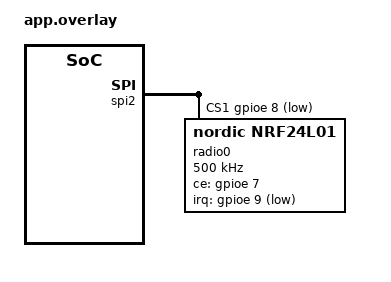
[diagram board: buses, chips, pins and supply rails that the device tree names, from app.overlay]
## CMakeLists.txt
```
cmake_minimum_required(VERSION 3.20.0)
list(APPEND ZEPHYR_EXTRA_MODULES ${CMAKE_CURRENT_SOURCE_DIR}/drivers)
set(SYSCALL_INCLUDE_DIRS "${CMAKE_CURRENT_SOURCE_DIR}/drivers/nrf24l01")
find_package(Zephyr REQUIRED HINTS $ENV{ZEPHYR_BASE})
project(nrf24l01)

target_include_directories(app PRIVATE drivers/nrf24l01)
target_sources(app PRIVATE src/main.c)
```

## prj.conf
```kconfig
CONFIG_GPIO=y
CONFIG_CONSOLE=y
CONFIG_SERIAL=y
CONFIG_UART_CONSOLE=y
CONFIG_PRINTK=y

CONFIG_SPI=y
CONFIG_NRF24L01=y
CONFIG_NRF24L01_TRIGGER=y

CONFIG_LOG=y
CONFIG_APP_LOG_LEVEL_INF=y
CONFIG_NRF24L01_LOG_LEVEL_ERR=y

CONFIG_ROLE=0
```

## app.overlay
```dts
&spi2 {
    cs-gpios = <&gpioe 3 GPIO_ACTIVE_LOW>,  /* w25q64 (index 0) */
               <&gpioe 8 GPIO_ACTIVE_LOW>; /* nrf24 (index 1) */

    radio0: nrf24@1 {
        compatible = "nordic,nrf24l01";
        status = "okay";
        reg = <1>;
        
        spi-max-frequency = <500000>;
        addr-width = <4>;
        ce-gpios = <&gpioe 7 GPIO_ACTIVE_HIGH>;
        irq-gpios = <&gpioe 9 GPIO_ACTIVE_LOW>;
        channel-frequency = <16>;
        rf-power-attenuation = <18>;
        lna-gain;
        tx-address = [de ad de ad];
        payload-fixed-size = <32>;
        rx-datapipes-number = <2>;
        rx-datapipe0-address = [e7 e7 e7 e7];
        rx-datapipe1-address = [de ad de ad];
        // payload-ack;
        payload-crc;
    };
};
```

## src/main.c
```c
#include <zephyr/kernel.h>
#include <zephyr/devicetree.h>

#include <nrf24.h>
#include <zephyr/logging/log.h>
LOG_MODULE_REGISTER(main, CONFIG_APP_LOG_LEVEL);
#if !DT_NODE_EXISTS(DT_NODELABEL(radio0))
#error "whoops, node label radio0 not found"
#endif

#ifdef CONFIG_NRF24L01_TRIGGER
#define TRIGGER
#endif

#if CONFIG_ROLE == 0
	#define ALICE
#elif CONFIG_ROLE == 1
	#define BOB
#else
	#define EVE
#endif


int main(void)
{
	static const struct device *nrf24 = DEVICE_DT_GET(DT_NODELABEL(radio0));
	uint8_t data_len = 16;
	uint8_t buffer[16] = {0};
#ifndef TRIGGER
	int i;
#endif // TRIGGER

	if (!device_is_ready(nrf24)) {
		LOG_ERR("Sensor not ready");
		return 0;
	}
	LOG_INF("Device ready");
#ifdef TRIGGER
	LOG_DBG("Trigger mode activated");
#endif //TRIGGER

#ifdef ALICE
	LOG_WRN("I am Alice!");
	while (true) {
		strncpy(buffer, "I am Alice, hi!", 16);
#ifdef TRIGGER
		while (nrf24_write(nrf24, buffer, data_len))
		{
			k_sleep(K_MSEC(10));
		}
#else
		for (i=0; i<10; i++)
		{
			nrf24_write(nrf24, buffer, data_len);
			k_sleep(K_MSEC(10));
		}
#endif // TRIGGER
		LOG_HEXDUMP_INF(buffer, data_len, "Sent: ");
		LOG_DBG("Switch to read");
#ifdef TRIGGER
		while (nrf24_read(nrf24, buffer, data_len));
#else
		nrf24_read(nrf24, buffer, data_len);
#endif // TRIGGER
		LOG_HEXDUMP_INF(buffer, data_len, "Received: ");
		k_sleep(K_MSEC(1000));
		LOG_DBG("Switch to write");
	}
#endif // ALICE

#ifdef BOB
	LOG_WRN("I am Bob!");
	while (true) {
#ifdef TRIGGER
		while (nrf24_read(nrf24, buffer, data_len));
#else
		nrf24_read(nrf24, buffer, data_len);
#endif // TRIGGER
		LOG_HEXDUMP_INF(buffer, data_len, "Received: ");
		LOG_DBG("Switch to write");
		strncpy(buffer, "Hi Alice Im Bob", 16);
		k_sleep(K_MSEC(1000));
#ifdef TRIGGER
		while (nrf24_write(nrf24, buffer, data_len))
		{
			k_sleep(K_MSEC(10));
		}
#else
		for (i=0; i<10; i++)
		{
			nrf24_write(nrf24, buffer, data_len);
			k_sleep(K_MSEC(10));
		}
#endif // TRIGGER
		LOG_HEXDUMP_INF(buffer, data_len, "Sent: ");
		LOG_DBG("Switch to read");
	}
#endif // BOB

#ifdef EVE
	LOG_WRN("I am Eve!");
	while (true) {
#ifdef TRIGGER
		while (nrf24_read(nrf24, buffer, data_len));
#else
		strncpy(buffer, "               ", 16);
		nrf24_read(nrf24, buffer, data_len);
#endif // TRIGGER
		LOG_HEXDUMP_INF(buffer, data_len, "I spied: ");
	}
#endif // EVE

	return 0;
}
```
